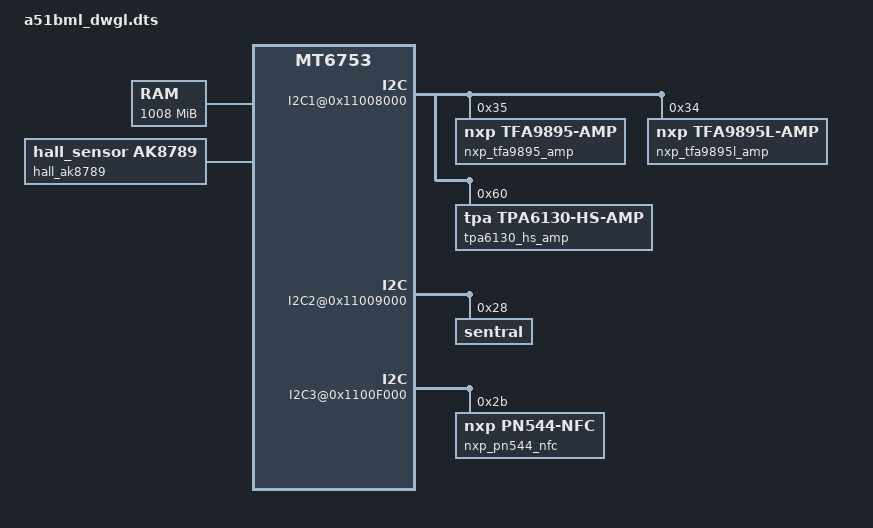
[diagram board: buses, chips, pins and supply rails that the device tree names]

/dts-v1/;

/include/ "mt6753.dtsi"
/include/ "htc_features.dtsi"
/include/ "mt6753-touch-a51bml.dtsi"

/ {
	htc_board_info {
		        htc_pid,htc_sku1 = <0x0 0x0>;
	};

 	memory@00000000 {
		device_type = "memory";
		reg = <0 0x40000000 0 0x3F000000>;
	};

        htc_vdev{
                htc_aud,rec-spk-sel-gpio = <21>;
        };

	reserved-memory {
		#address-cells = <2>;
		#size-cells = <2>;
		ranges;

		reserve-memory-ccci_md3 {
			compatible = "reserve-memory-ccci_md3";
			no-map;
			size = <0 0x03000000>;
			alignment = <0 0x2000000>;
			alloc-ranges = <0 0x40000000 0 0xC0000000>;
		};
	};

	bus {
		compatible = "simple-bus";
		#address-cells = <1>;
		#size-cells = <1>;
		ranges = <0 0 0 0xffffffff>;

		MTKFB@5e200000 {
			compatible = "mediatek,MTKFB";
			reg = <0x7F000000 0x1000000>;
		};

                I2C1@0x11008000 {
                        status = "ok";

                        nxp_tfa9895_amp@35 {
                                compatible = "nxp,tfa9895-amp";
                                reg = <0x35>;
                        };

                        nxp_tfa9895l_amp@34 {
                                compatible = "nxp,tfa9895l-amp";
                                reg = <0x34>;
                        };
                        tpa6130_hs_amp@60 {
                            compatible = "tpa,tpa6130-hs-amp";
                            reg = <0x60>;
                        };
                };
		I2C2@0x11009000 {
			sentral@28 {
				compatible = "sentral";
				reg = <0x28>;
				pni,host_int_gpio = <80>;
				pni,firmware = "sentral.fw";
				//pni,firmware = "sentral-iio/sentral.fw";

				mcu,als_level_count = <10>;
				mcu,als_levels = <2 5 9 43 86 579 868 1564 2143 65535>;
				mcu,als_goldl = <0xF7>;
				mcu,als_goldh = <0x01>;
				mcu,als_polling = <0>;
				mcu,als_lux_ratio_n = <2>;		/* Numerator */
				mcu,als_lux_ratio_d = <10>; 	/* Denominator */
				mcu,ps_thd_add = <0x28>;
				mcu,ps_thd_fixed = <0x15>;
				vibrate_ms = <60>;

			};
		};
		I2C3@0x1100F000 {
			nxp_pn544_nfc@2B {
			compatible = "nxp,pn544-nfc";
			reg = <0x2B>;
			nxp,irq-gpio = <2>;
			nxp,ven-gpio = <123>;
			nxp,fwdl-gpio = <99>;
			nxp,ven_isinvert = <0>;
			nxp,isalive = <1>;
		};
	};
	};

	hall_ak8789 {
		compatible = "hall_sensor,ak8789";
		hall,att_used = <2>;
		hall,att_gpio = <1>;
		hall,att_gpio_s = <3>;
	};
};
